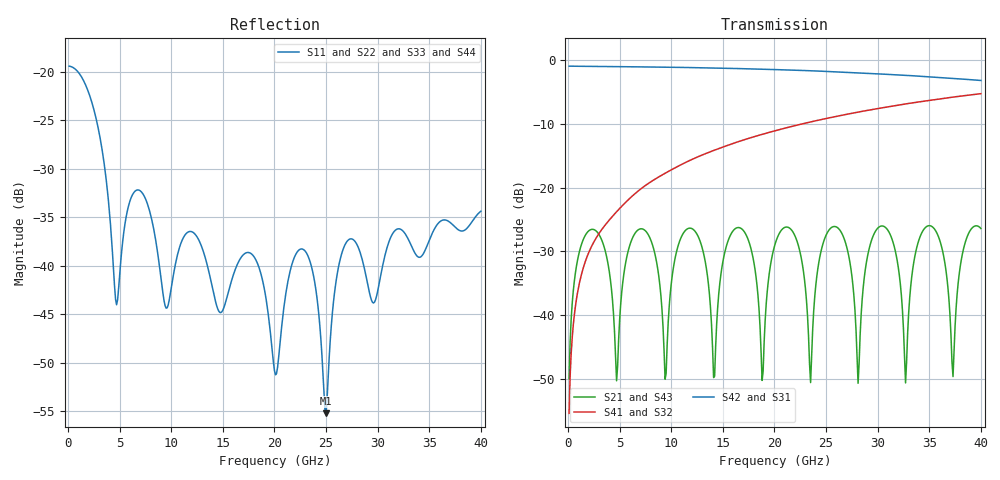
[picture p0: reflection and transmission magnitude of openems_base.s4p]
! T_ts6_xt_ms_s10: Microstrip aggressor and victim on L1, w 0.265 mm, edge gap 1·w = 0.27 mm, 20 mm
! stackup: ThunderScope Rev5.3 6-layer (FR408HR / FR-4, from the board file)
! ports: 1 near A, 2 near B, 3 far A, 4 far B
! openEMS 0.37.0, staircase, base mesh (dfine 0.035 mm), 697984 cells
# Hz S RI R 50
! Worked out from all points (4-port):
!   400 points, 100 MHz to 40 GHz, reference 50 ohm
!   strongest paths, dB at 100 MHz, 10.1 GHz, 20.1 GHz, 30.1 GHz, 40 GHz:
!     S42: -1.0, -1.1, -1.5, -2.2, -3.2
!     S31: -1.0, -1.1, -1.5, -2.2, -3.2
!     S41: -55.4, -17.1, -11.1, -7.6, -5.3
!     S32: -55.4, -17.1, -11.1, -7.6, -5.3
!     S21: -50.0, -33.7, -28.6, -26.2, -26.4
!     S43: -50.0, -33.7, -28.6, -26.2, -26.4
!   lowest |S11| = -55.2 dB at 25 GHz (marker M1), VSWR 1.00, Z = 50.1 - j0.133 ohm
!   |S11| at or under -10 dB: start of sweep to end of sweep
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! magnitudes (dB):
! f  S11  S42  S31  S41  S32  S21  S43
! 100 MHz  -19.4  -1.0  -1.0  -55.4  -55.4  -50.0  -50.0
! 4.2 GHz  -37.1  -1.0  -1.0  -24.7  -24.7  -35.8  -35.8
! 21.4 GHz  -41.1  -1.6  -1.6  -10.5  -10.5  -26.3  -26.3
! 23.5 GHz  -39.8  -1.7  -1.7  -9.7  -9.7  -50.5  -50.5
! 25 GHz  -55.2  -1.8  -1.8  -9.2  -9.2  -27.5  -27.5
! 32.7 GHz  -36.8  -2.4  -2.4  -6.9  -6.9  -50.6  -50.6
! 40 GHz  -34.4  -3.2  -3.2  -5.3  -5.3  -26.4  -26.4
